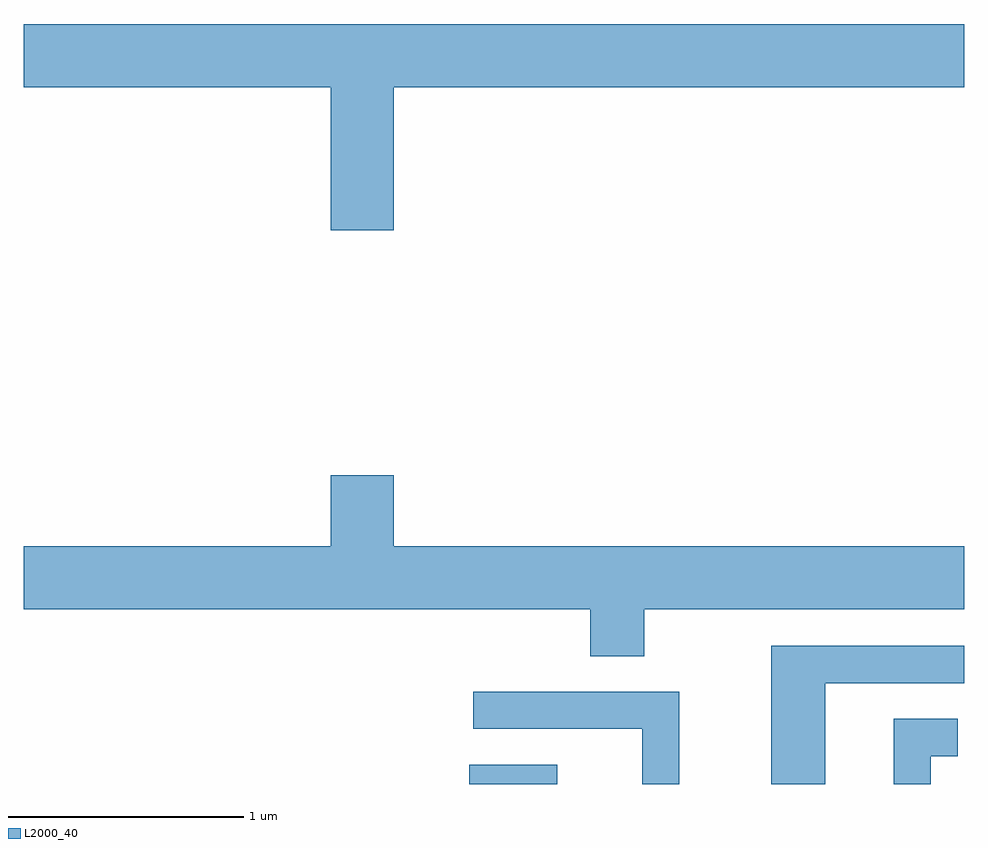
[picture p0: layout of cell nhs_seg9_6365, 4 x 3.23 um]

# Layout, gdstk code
import gdstk
lib = gdstk.Library(unit=1e-6, precision=1e-09)
def R(c, l, rs):  # rectangles x0, y0, x1, y1
    for r in rs: c.add(gdstk.rectangle(r[:2], r[2:], *l))
def P(c, l, *ps):  # polygons
    for p in ps: c.add(gdstk.Polygon(p, *l))
L2000_40 = (2000, 40)

nhs_seg9_6365 = lib.new_cell('nhs_seg9_6365')
R(nhs_seg9_6365, L2000_40, [(375.506,1964.432,375.879,1964.514)])
P(nhs_seg9_6365, L2000_40, [(375.184,1967.396),(377.611,1967.396),(377.611,1967.664),(373.611,1967.664),(373.611,1967.396),(374.916,1967.396),(374.916,1966.786),(375.184,1966.786)],
  [(376.249,1965.176),(377.611,1965.176),(377.611,1965.444),(375.184,1965.444),(375.184,1965.744),(374.916,1965.744),(374.916,1965.444),(373.611,1965.444),(373.611,1965.176),(376.021,1965.176),(376.021,1964.976),(376.249,1964.976)],
  [(377.019,1964.861),(377.611,1964.861),(377.611,1965.019),(376.791,1965.019),(376.791,1964.432),(377.019,1964.432)],
  [(376.399,1964.824),(375.523,1964.824),(375.523,1964.666),(376.241,1964.666),(376.241,1964.432),(376.399,1964.432)],
  [(377.469,1964.551),(377.583,1964.551),(377.583,1964.709),(377.311,1964.709),(377.311,1964.432),(377.469,1964.432)])

lib.write_gds('nhs_seg9_6365.gds')
